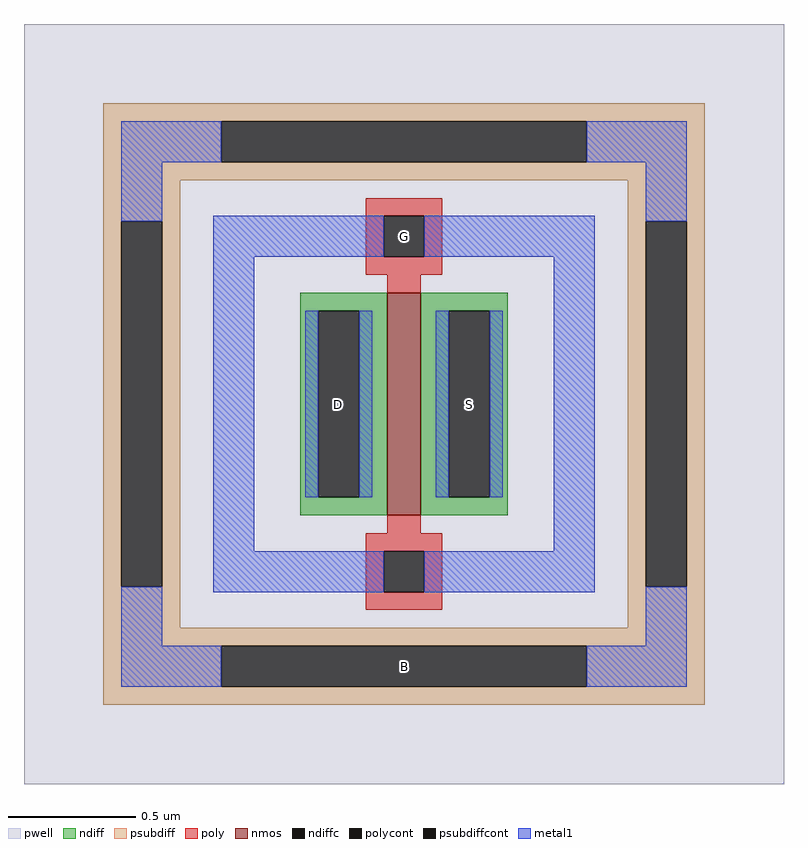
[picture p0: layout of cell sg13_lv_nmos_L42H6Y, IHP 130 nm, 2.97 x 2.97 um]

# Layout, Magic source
magic
tech ihp-sg13cmos5l
magscale 1 2
<< pwell >>
rect -297 -297 297 297
<< nmos >>
rect -13 -87 13 87
<< ndiff >>
rect -81 73 -13 87
rect -81 -73 -67 73
rect -35 -73 -13 73
rect -81 -87 -13 -73
rect 13 73 81 87
rect 13 -73 35 73
rect 67 -73 81 73
rect 13 -87 81 -73
<< ndiffc >>
rect -67 -73 -35 73
rect 35 -73 67 73
<< psubdiff >>
rect -235 221 235 235
rect -235 189 -143 221
rect 143 189 235 221
rect -235 175 235 189
rect -235 143 -175 175
rect -235 -143 -221 143
rect -189 -143 -175 143
rect 175 143 235 175
rect -235 -175 -175 -143
rect 175 -143 189 143
rect 221 -143 235 143
rect 175 -175 235 -143
rect -235 -189 235 -175
rect -235 -221 -143 -189
rect 143 -221 235 -189
rect -235 -235 235 -221
<< psubdiffcont >>
rect -143 189 143 221
rect -221 -143 -189 143
rect 189 -143 221 143
rect -143 -221 143 -189
<< poly >>
rect -30 147 30 161
rect -30 115 -16 147
rect 16 115 30 147
rect -30 101 30 115
rect -13 87 13 101
rect -13 -101 13 -87
rect -30 -115 30 -101
rect -30 -147 -16 -115
rect 16 -147 30 -115
rect -30 -161 30 -147
<< polycont >>
rect -16 115 16 147
rect -16 -147 16 -115
<< metal1 >>
rect -221 189 -143 221
rect 143 189 221 221
rect -221 143 -189 189
rect -221 -189 -189 -143
rect -149 115 -16 147
rect 16 115 149 147
rect -149 -115 -117 115
rect -77 -73 -67 73
rect -35 -73 -25 73
rect 25 -73 35 73
rect 67 -73 77 73
rect 117 -115 149 115
rect -149 -147 -16 -115
rect 16 -147 149 -115
rect 189 143 221 189
rect 189 -189 221 -143
rect -221 -221 -143 -189
rect 143 -221 221 -189
<< labels >>
rlabel psubdiffcont 0 -205 0 -205 0 B
port 1 nsew
rlabel ndiffc -51 0 -51 0 0 D
port 2 nsew
rlabel ndiffc 51 0 51 0 0 S
port 3 nsew
rlabel polycont 0 131 0 131 0 G
port 4 nsew
<< properties >>
string FIXED_BBOX -205 -205 205 205
string gencell sg13_lv_nmos
string library sg13cmos5l
string parameters w 0.87 l 0.13 m 1 ng 1 diffcov 100 polycov 100 guard 1 glc 1 grc 1 gtc 1 gbc 1 tbcov 100 rlcov 100 topc 1 botc 1 poverlap 0 doverlap 1 lmin 0.13 wmin 0.15 class mosfet compatible {sg13_lv_nmos sg13_hv_nmos} full_metal 1 conn_gates 1 gate_ring 1 doports 1 viasrc 0 viadrn 0 viagate 0 ccols 1 viagb 0 viagr 0 viagl 0 viagt 0
<< end >>
